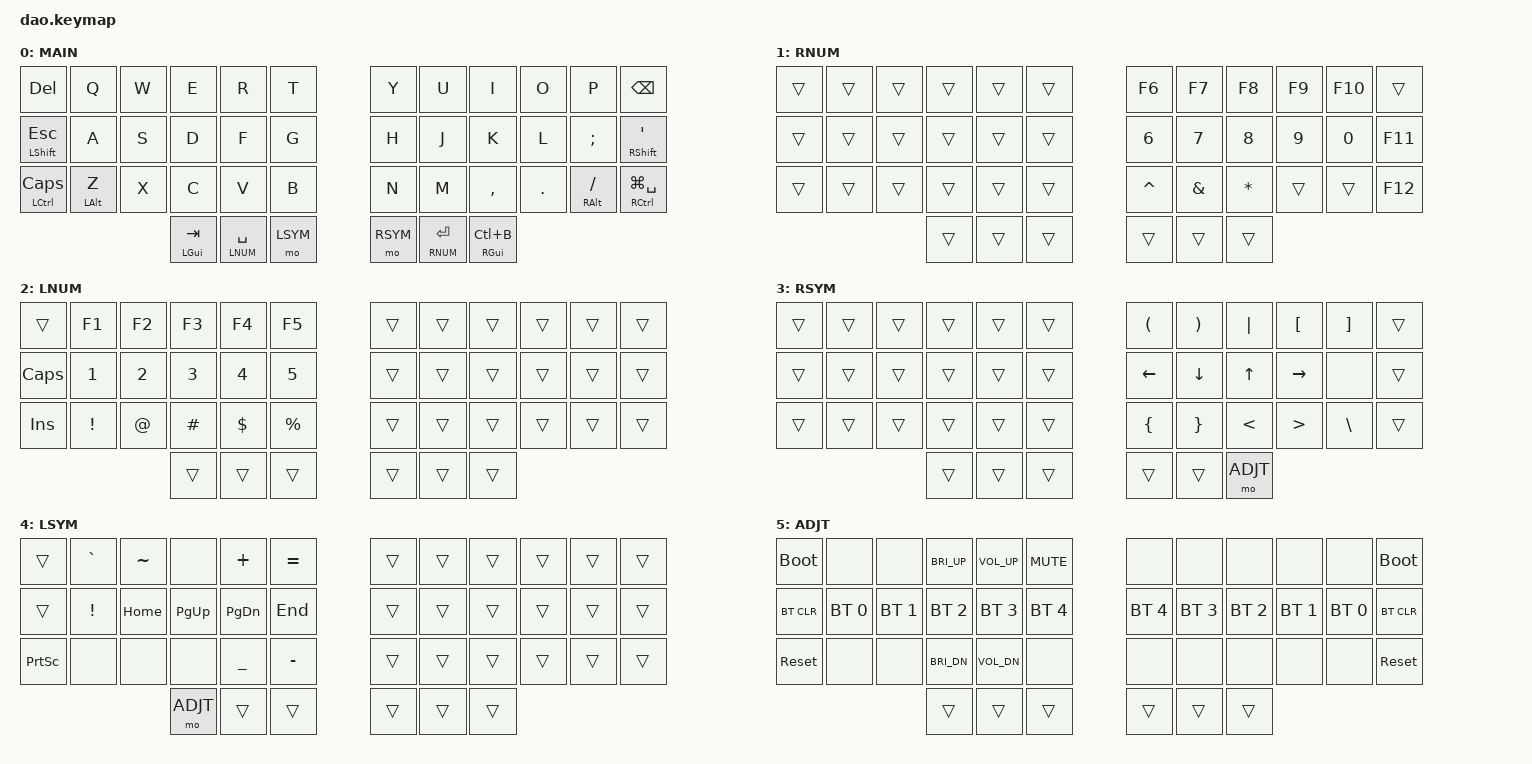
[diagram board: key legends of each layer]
/*
 * Copyright (c) 2021 Rafael Yumagulov
 *
 * SPDX-License-Identifier: MIT
 */

#include <behaviors.dtsi>
#include <dt-bindings/zmk/keys.h>
#include <dt-bindings/zmk/bt.h>

#define MAIN 0
#define RNUM 1
#define LNUM 2
#define RSYM 3
#define LSYM 4
#define ADJT 5

&lt { quick_tap_ms = <180>; };
&mt { quick_tap_ms = <180>; };

/ {
    chosen {
        zmk,physical_layout = &dao_crkbd_layout;
        // zmk,physical_layout = &dao_full_layout;
    };
};

/ {
        behaviors {
            cmt: custom_mod_tap {
                compatible = "zmk,behavior-hold-tap";
                #binding-cells = <2>;
                flavor = "tap-preferred";
                require-prior-idle-ms = <125>;
                quick-tap-ms = <200>;
                tapping-term-ms = <150>;
                bindings = <&kp>, <&kp>;
            };
        };

        keymap {
                compatible = "zmk,keymap";

                default_layer {
                        display-name = "MAIN";
                        bindings = <
&kp DEL          &kp Q        &kp W  &kp E  &kp R    &kp T  &kp Y  &kp U  &kp I      &kp O    &kp P            &kp BSPC
&cmt LSHFT ESC   &kp A        &kp S  &kp D  &kp F    &kp G  &kp H  &kp J  &kp K      &kp L    &kp SEMI         &cmt RSHIFT SINGLE_QUOTE
&cmt LCTRL CAPS  &cmt LALT Z  &kp X  &kp C  &kp V    &kp B  &kp N  &kp M  &kp COMMA  &kp DOT  &cmt RALT SLASH  &cmt RCTRL LG(SPACE)

    &cmt LGUI TAB  &lt LNUM SPACE  &mo LSYM    &mo RSYM  &lt RNUM RET  &cmt RGUI LC(B) 
                        >;
                };

                right_number_layer {
                        display-name = "RNUM";
                        bindings = <
&trans  &trans  &trans  &trans  &trans  &trans    &kp F6     &kp F7         &kp F8        &kp F9  &kp F10  &trans
&trans  &trans  &trans  &trans  &trans  &trans    &kp N6     &kp N7         &kp N8        &kp N9  &kp N0   &kp F11
&trans  &trans  &trans  &trans  &trans  &trans    &kp CARET  &kp AMPERSAND  &kp ASTERISK  &trans  &trans   &kp F12

                        &trans  &trans  &trans    &trans  &trans  &trans
                        >;
                };

                left_number_layer {
                        display-name = "LNUM";
                        bindings = <
&trans   &kp F1   &kp F2   &kp F3   &kp F4   &kp F5           &trans  &trans  &trans  &trans  &trans  &trans
&kp CAPS &kp N1   &kp N2   &kp N3   &kp N4   &kp N5           &trans  &trans  &trans  &trans  &trans  &trans
&kp INS  &kp EXCL &kp AT   &kp HASH &kp DLLR &kp PERCENT      &trans  &trans  &trans  &trans  &trans  &trans

                             &trans  &trans  &trans           &trans  &trans  &trans
                        >;
                };

                right_symbol_layer {
                        display-name = "RSYM";
                        bindings = <
&trans  &trans  &trans  &trans  &trans  &trans    &kp LPAR       &kp RPAR        &kp PIPE &kp LEFT_BRACKET &kp RIGHT_BRACKET &trans
&trans  &trans  &trans  &trans  &trans  &trans    &kp LEFT       &kp DOWN        &kp UP   &kp RIGHT        &none             &trans
&trans  &trans  &trans  &trans  &trans  &trans    &kp LEFT_BRACE &kp RIGHT_BRACE &kp LT   &kp GT           &kp BACKSLASH     &trans

                        &trans  &trans  &trans     &trans  &trans  &mo ADJT
                        >;
                };

                left_symbol_layer {
                        display-name = "LSYM";
                        bindings = <
&trans          &kp GRAVE &kp TILDE &none     &kp PLUS     &kp EQUAL  &trans  &trans  &trans  &trans  &trans  &trans
&trans          &kp EXCL  &kp HOME  &kp PG_UP &kp PG_DN    &kp END    &trans  &trans  &trans  &trans  &trans  &trans
&kp PRINTSCREEN &none     &none     &none     &kp UNDER    &kp MINUS  &trans  &trans  &trans  &trans  &trans  &trans

                               &mo ADJT  &trans  &trans    &trans  &trans  &trans
                        >;
                };

                adjust_layer {
                        display-name = "ADJT";
                        bindings = <
&bootloader &none        &none        &kp C_BRI_UP  &kp C_VOL_UP  &kp C_MUTE      &none        &none        &none        &none        &none        &bootloader
&bt BT_CLR  &bt BT_SEL 0 &bt BT_SEL 1 &bt BT_SEL 2  &bt BT_SEL 3  &bt BT_SEL 4    &bt BT_SEL 4 &bt BT_SEL 3 &bt BT_SEL 2 &bt BT_SEL 1 &bt BT_SEL 0 &bt BT_CLR
&sys_reset  &none        &none        &kp C_BRI_DN  &kp C_VOL_DN  &none           &none        &none        &none        &none        &none        &sys_reset

                                                  &trans  &trans  &trans          &trans  &trans  &trans
                        >;
                };
        };
};
